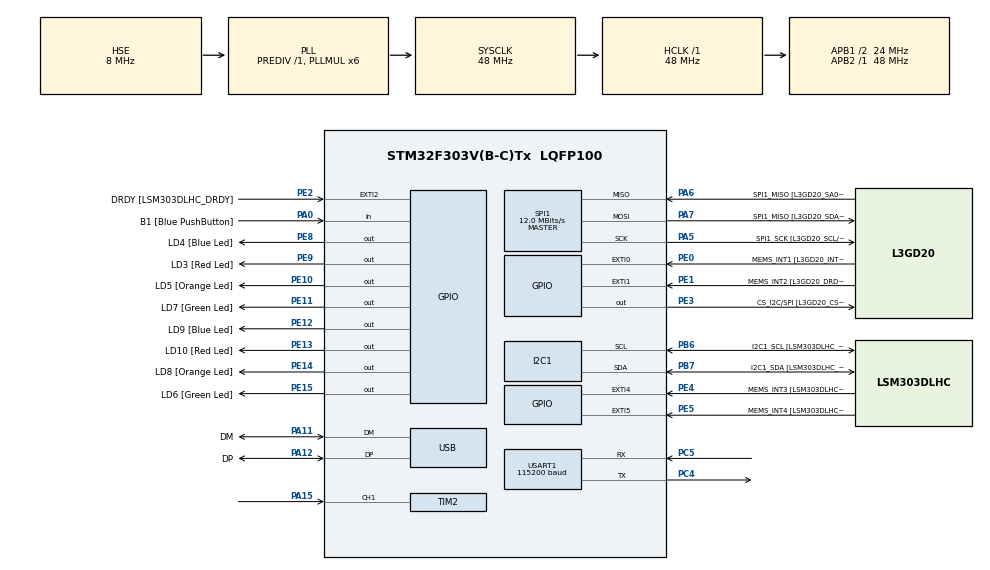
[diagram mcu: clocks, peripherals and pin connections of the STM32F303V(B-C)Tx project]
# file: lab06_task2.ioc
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I2C1.Timing=0x00201D2B
I2C1.Timing-I2C=0x2000090E
Mcu.Family=STM32F3
Mcu.Name=STM32F303V(B-C)Tx
Mcu.Package=LQFP100
NVIC.PriorityGroup=NVIC_PRIORITYGROUP_0
NVIC.TIM2_IRQn=true\:0\:0\:false\:false\:true\:true\:true\:true
PA0.GPIO_Label=B1 [Blue PushButton]
PA0.Signal=GPIO_Input
PA11.GPIO_Label=DM
PA11.Mode=Device
PA11.Signal=USB_DM
PA12.GPIO_Label=DP
PA12.Mode=Device
PA12.Signal=USB_DP
PA13.GPIO_Label=SWDIO
PA13.Mode=Serial_Wire
PA13.Signal=SYS_JTMS-SWDIO
PA14.GPIO_Label=SWCLK
PA14.Mode=Serial_Wire
PA14.Signal=SYS_JTCK-SWCLK
PA15.Signal=S_TIM2_CH1_ETR
PA5.GPIO_Label=SPI1_SCK [L3GD20_SCL/SPC]
PA5.Mode=Full_Duplex_Master
PA5.Signal=SPI1_SCK
PA6.GPIO_Label=SPI1_MISO [L3GD20_SA0/SDO]
PA6.Mode=Full_Duplex_Master
PA6.Signal=SPI1_MISO
PA7.GPIO_Label=SPI1_MISO [L3GD20_SDA/SDI/SDO]
PA7.Mode=Full_Duplex_Master
PA7.Signal=SPI1_MOSI
PB3.GPIO_Label=SWO
PB3.Signal=SYS_JTDO-TRACESWO
PB6.GPIO_Label=I2C1_SCL [LSM303DLHC_SCL]
PB6.GPIO_Pu=GPIO_PULLUP
PB6.Mode=I2C
PB6.Signal=I2C1_SCL
PB7.GPIO_Label=I2C1_SDA [LSM303DLHC_SDA]
PB7.GPIO_Pu=GPIO_PULLUP
PB7.Mode=I2C
PB7.Signal=I2C1_SDA
PC14-OSC32_IN.GPIO_Label=OSC32_IN
PC14-OSC32_IN.Signal=RCC_OSC32_IN
PC15-OSC32_OUT.GPIO_Label=OSC32_OUT
PC15-OSC32_OUT.Signal=RCC_OSC32_OUT
PC4.Mode=Asynchronous
PC4.Signal=USART1_TX
PC5.Mode=Asynchronous
PC5.Signal=USART1_RX
PE0.GPIO_Label=MEMS_INT1 [L3GD20_INT1]
PE0.GPIO_ModeDefaultEXTI=GPIO_MODE_EVT_RISING
PE0.Signal=GPXTI0
PE1.GPIO_Label=MEMS_INT2 [L3GD20_DRDY/INT2]
PE1.GPIO_ModeDefaultEXTI=GPIO_MODE_EVT_RISING
PE1.Signal=GPXTI1
PE10.GPIO_Label=LD5 [Orange Led]
PE10.Signal=GPIO_Output
PE11.GPIO_Label=LD7 [Green Led]
PE11.Signal=GPIO_Output
PE12.GPIO_Label=LD9 [Blue Led]
PE12.Signal=GPIO_Output
PE13.GPIO_Label=LD10 [Red Led]
PE13.Signal=GPIO_Output
PE14.GPIO_Label=LD8 [Orange Led]
PE14.Signal=GPIO_Output
PE15.GPIO_Label=LD6 [Green Led]
PE15.Signal=GPIO_Output
PE2.GPIO_Label=DRDY [LSM303DLHC_DRDY]
PE2.GPIO_ModeDefaultEXTI=GPIO_MODE_EVT_RISING
PE2.Signal=GPXTI2
PE3.GPIO_Label=CS_I2C/SPI [L3GD20_CS_I2C/SPI]
PE3.Signal=GPIO_Output
PE4.GPIO_Label=MEMS_INT3 [LSM303DLHC_INT1]
PE4.GPIO_ModeDefaultEXTI=GPIO_MODE_EVT_RISING
PE4.Signal=GPXTI4
PE5.GPIO_Label=MEMS_INT4 [LSM303DLHC_INT2]
PE5.GPIO_ModeDefaultEXTI=GPIO_MODE_EVT_RISING
PE5.Signal=GPXTI5
PE8.GPIO_Label=LD4 [Blue Led]
PE8.Signal=GPIO_Output
PE9.GPIO_Label=LD3 [Red Led]
PE9.Signal=GPIO_Output
PF0-OSC_IN.GPIO_Label=OSC_IN
PF0-OSC_IN.Mode=HSE-External-Clock-Source
PF0-OSC_IN.Signal=RCC_OSC_IN
PF1-OSC_OUT.GPIO_Label=OSC_OUT
PF1-OSC_OUT.Signal=RCC_OSC_OUT
ProjectManager.HeapSize=0x200
ProjectManager.StackSize=0x400
ProjectManager.TargetToolchain=CMake
RCC.AHBFreq_Value=48000000
RCC.APB1CLKDivider=RCC_HCLK_DIV2
RCC.APB1Freq_Value=24000000
RCC.APB1TimFreq_Value=48000000
RCC.APB2Freq_Value=48000000
RCC.APB2TimFreq_Value=48000000
RCC.CortexFreq_Value=48000000
RCC.HCLKFreq_Value=48000000
RCC.HSE_VALUE=8000000
RCC.HSI_VALUE=8000000
RCC.LSE_VALUE=32768
RCC.PLLMUL=RCC_PLL_MUL6
RCC.SYSCLKFreq_VALUE=48000000
RCC.SYSCLKSourceVirtual=RCC_SYSCLKSOURCE_PLLCLK
RCC.USBFreq_Value=48000000
SH.S_TIM2_CH1_ETR.0=TIM2_CH1,Input_Capture1_from_TI1
SPI1.BaudRatePrescaler=SPI_BAUDRATEPRESCALER_4
SPI1.BaudRatePrescaler-Full_Duplex_Master=SPI_BAUDRATEPRESCALER_2
SPI1.CalculateBaudRate=12.0 MBits/s
SPI1.CalculateBaudRate-Full_Duplex_Master=24.0 MBits/s
SPI1.Direction=SPI_DIRECTION_2LINES
SPI1.Mode=SPI_MODE_MASTER
SPI1.Mode-Full_Duplex_Master=SPI_MODE_MASTER
SPI1.VirtualType=VM_MASTER
TIM2.Channel-Input_Capture1_from_TI1=TIM_CHANNEL_1
TIM2.Prescaler=71
USART1.BaudRate=115200
USART1.VirtualMode-Asynchronous=VM_ASYNC
board=STM32F3DISCOVERY

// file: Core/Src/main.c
/* USER CODE BEGIN Header */
/**
  ******************************************************************************
  * @file           : main.c
  * @brief          : Main program body
  ******************************************************************************
  * @attention
  *
  * Copyright (c) 2026 STMicroelectronics.
  * All rights reserved.
  *
  * This software is licensed under terms that can be found in the LICENSE file
  * in the root directory of this software component.
  * If no LICENSE file comes with this software, it is provided AS-IS.
  *
  ******************************************************************************
  */
/* USER CODE END Header */
#include "main.h"
#include <stdio.h>

I2C_HandleTypeDef hi2c1;

SPI_HandleTypeDef hspi1;

TIM_HandleTypeDef htim2;

UART_HandleTypeDef huart1;

PCD_HandleTypeDef hpcd_USB_FS;

/* USER CODE BEGIN PV */

volatile uint32_t last_capture = 0;
volatile uint32_t current_capture = 0;
volatile uint32_t period = 0;
volatile uint32_t frequency = 0;

volatile uint8_t dataReady = 0;

/* USER CODE END PV */

void SystemClock_Config(void);
static void MX_GPIO_Init(void);
static void MX_I2C1_Init(void);
static void MX_SPI1_Init(void);
static void MX_USB_PCD_Init(void);
static void MX_TIM2_Init(void);
static void MX_USART1_UART_Init(void);

/* USER CODE BEGIN 0 */

int _write(int file, char *ptr, int len)
{
    HAL_UART_Transmit(&huart1, (uint8_t *)ptr, len, HAL_MAX_DELAY);
    return len;
}

void HAL_TIM_IC_CaptureCallback(TIM_HandleTypeDef *htim)
{
  if (htim->Instance == TIM2){

    if (htim->Channel == HAL_TIM_ACTIVE_CHANNEL_1){

      current_capture =HAL_TIM_ReadCapturedValue(htim, TIM_CHANNEL_1);
      if (last_capture != 0){

        if (current_capture >= last_capture)
        {
          period = current_capture - last_capture;
        }
        else
        {
          period = (0xFFFFFFFF - last_capture) + current_capture + 1;
        }
        dataReady = 1;
      }
      last_capture = current_capture;
    }
  }
}

/* USER CODE END 0 */

int main(void)
{

  /* MCU Configuration--------------------------------------------------------*/

  /* Reset of all peripherals, Initializes the Flash interface and the Systick. */
  HAL_Init();

  /* Configure the system clock */
  SystemClock_Config();

  /* Initialize all configured peripherals */
  MX_GPIO_Init();
  MX_I2C1_Init();
  MX_SPI1_Init();
  MX_USB_PCD_Init();
  MX_TIM2_Init();
  MX_USART1_UART_Init();
  /* USER CODE BEGIN 2 */
  HAL_TIM_IC_Start_IT(&htim2, TIM_CHANNEL_1);
  /* USER CODE END 2 */

  /* Infinite loop */
  while (1)
  {

    /* USER CODE BEGIN 3 */

    if (dataReady == 1){
      if (period != 0)
      {
        frequency = 666667 / period;

        printf("Period: %d us\r\n",(period));
        printf("Frequency: %d  Hz\r\n",frequency);
    }

    dataReady = 0;
}

  }
  /* USER CODE END 3 */
}

void SystemClock_Config(void)
{
  RCC_OscInitTypeDef RCC_OscInitStruct = {0};
  RCC_ClkInitTypeDef RCC_ClkInitStruct = {0};
  RCC_PeriphCLKInitTypeDef PeriphClkInit = {0};

  /** Initializes the RCC Oscillators according to the specified parameters
  * in the RCC_OscInitTypeDef structure.
  */
  RCC_OscInitStruct.OscillatorType = RCC_OSCILLATORTYPE_HSI|RCC_OSCILLATORTYPE_HSE;
  RCC_OscInitStruct.HSEState = RCC_HSE_BYPASS;
  RCC_OscInitStruct.HSEPredivValue = RCC_HSE_PREDIV_DIV1;
  RCC_OscInitStruct.HSIState = RCC_HSI_ON;
  RCC_OscInitStruct.HSICalibrationValue = RCC_HSICALIBRATION_DEFAULT;
  RCC_OscInitStruct.PLL.PLLState = RCC_PLL_ON;
  RCC_OscInitStruct.PLL.PLLSource = RCC_PLLSOURCE_HSE;
  RCC_OscInitStruct.PLL.PLLMUL = RCC_PLL_MUL6;
  if (HAL_RCC_OscConfig(&RCC_OscInitStruct) != HAL_OK)
  {
    Error_Handler();
  }

  /** Initializes the CPU, AHB and APB buses clocks
  */
  RCC_ClkInitStruct.ClockType = RCC_CLOCKTYPE_HCLK|RCC_CLOCKTYPE_SYSCLK
                              |RCC_CLOCKTYPE_PCLK1|RCC_CLOCKTYPE_PCLK2;
  RCC_ClkInitStruct.SYSCLKSource = RCC_SYSCLKSOURCE_PLLCLK;
  RCC_ClkInitStruct.AHBCLKDivider = RCC_SYSCLK_DIV1;
  RCC_ClkInitStruct.APB1CLKDivider = RCC_HCLK_DIV2;
  RCC_ClkInitStruct.APB2CLKDivider = RCC_HCLK_DIV1;

  if (HAL_RCC_ClockConfig(&RCC_ClkInitStruct, FLASH_LATENCY_1) != HAL_OK)
  {
    Error_Handler();
  }
  PeriphClkInit.PeriphClockSelection = RCC_PERIPHCLK_USB|RCC_PERIPHCLK_USART1
                              |RCC_PERIPHCLK_I2C1;
  PeriphClkInit.Usart1ClockSelection = RCC_USART1CLKSOURCE_PCLK2;
  PeriphClkInit.I2c1ClockSelection = RCC_I2C1CLKSOURCE_HSI;
  PeriphClkInit.USBClockSelection = RCC_USBCLKSOURCE_PLL;
  if (HAL_RCCEx_PeriphCLKConfig(&PeriphClkInit) != HAL_OK)
  {
    Error_Handler();
  }
}

static void MX_I2C1_Init(void)
{

  hi2c1.Instance = I2C1;
  hi2c1.Init.Timing = 0x00201D2B;
  hi2c1.Init.OwnAddress1 = 0;
  hi2c1.Init.AddressingMode = I2C_ADDRESSINGMODE_7BIT;
  hi2c1.Init.DualAddressMode = I2C_DUALADDRESS_DISABLE;
  hi2c1.Init.OwnAddress2 = 0;
  hi2c1.Init.OwnAddress2Masks = I2C_OA2_NOMASK;
  hi2c1.Init.GeneralCallMode = I2C_GENERALCALL_DISABLE;
  hi2c1.Init.NoStretchMode = I2C_NOSTRETCH_DISABLE;
  if (HAL_I2C_Init(&hi2c1) != HAL_OK)
  {
    Error_Handler();
  }

  /** Configure Analogue filter
  */
  if (HAL_I2CEx_ConfigAnalogFilter(&hi2c1, I2C_ANALOGFILTER_ENABLE) != HAL_OK)
  {
    Error_Handler();
  }

  /** Configure Digital filter
  */
  if (HAL_I2CEx_ConfigDigitalFilter(&hi2c1, 0) != HAL_OK)
  {
    Error_Handler();
  }

}

static void MX_SPI1_Init(void)
{

  /* SPI1 parameter configuration*/
  hspi1.Instance = SPI1;
  hspi1.Init.Mode = SPI_MODE_MASTER;
  hspi1.Init.Direction = SPI_DIRECTION_2LINES;
  hspi1.Init.DataSize = SPI_DATASIZE_4BIT;
  hspi1.Init.CLKPolarity = SPI_POLARITY_LOW;
  hspi1.Init.CLKPhase = SPI_PHASE_1EDGE;
  hspi1.Init.NSS = SPI_NSS_SOFT;
  hspi1.Init.BaudRatePrescaler = SPI_BAUDRATEPRESCALER_4;
  hspi1.Init.FirstBit = SPI_FIRSTBIT_MSB;
  hspi1.Init.TIMode = SPI_TIMODE_DISABLE;
  hspi1.Init.CRCCalculation = SPI_CRCCALCULATION_DISABLE;
  hspi1.Init.CRCPolynomial = 7;
  hspi1.Init.CRCLength = SPI_CRC_LENGTH_DATASIZE;
  hspi1.Init.NSSPMode = SPI_NSS_PULSE_ENABLE;
  if (HAL_SPI_Init(&hspi1) != HAL_OK)
  {
    Error_Handler();
  }

}

static void MX_TIM2_Init(void)
{

  TIM_MasterConfigTypeDef sMasterConfig = {0};
  TIM_IC_InitTypeDef sConfigIC = {0};

  htim2.Instance = TIM2;
  htim2.Init.Prescaler = 71;
  htim2.Init.CounterMode = TIM_COUNTERMODE_UP;
  htim2.Init.Period = 4294967295;
  htim2.Init.ClockDivision = TIM_CLOCKDIVISION_DIV1;
  htim2.Init.AutoReloadPreload = TIM_AUTORELOAD_PRELOAD_DISABLE;
  if (HAL_TIM_IC_Init(&htim2) != HAL_OK)
  {
    Error_Handler();
  }
  sMasterConfig.MasterOutputTrigger = TIM_TRGO_RESET;
  sMasterConfig.MasterSlaveMode = TIM_MASTERSLAVEMODE_DISABLE;
  if (HAL_TIMEx_MasterConfigSynchronization(&htim2, &sMasterConfig) != HAL_OK)
  {
    Error_Handler();
  }
  sConfigIC.ICPolarity = TIM_INPUTCHANNELPOLARITY_RISING;
  sConfigIC.ICSelection = TIM_ICSELECTION_DIRECTTI;
  sConfigIC.ICPrescaler = TIM_ICPSC_DIV1;
  sConfigIC.ICFilter = 0;
  if (HAL_TIM_IC_ConfigChannel(&htim2, &sConfigIC, TIM_CHANNEL_1) != HAL_OK)
  {
    Error_Handler();
  }

}

static void MX_USART1_UART_Init(void)
{

  huart1.Instance = USART1;
  huart1.Init.BaudRate = 115200;
  huart1.Init.WordLength = UART_WORDLENGTH_8B;
  huart1.Init.StopBits = UART_STOPBITS_1;
  huart1.Init.Parity = UART_PARITY_NONE;
  huart1.Init.Mode = UART_MODE_TX_RX;
  huart1.Init.HwFlowCtl = UART_HWCONTROL_NONE;
  huart1.Init.OverSampling = UART_OVERSAMPLING_16;
  huart1.Init.OneBitSampling = UART_ONE_BIT_SAMPLE_DISABLE;
  huart1.AdvancedInit.AdvFeatureInit = UART_ADVFEATURE_NO_INIT;
  if (HAL_UART_Init(&huart1) != HAL_OK)
  {
    Error_Handler();
  }

}

static void MX_USB_PCD_Init(void)
{

  hpcd_USB_FS.Instance = USB;
  hpcd_USB_FS.Init.dev_endpoints = 8;
  hpcd_USB_FS.Init.speed = PCD_SPEED_FULL;
  hpcd_USB_FS.Init.phy_itface = PCD_PHY_EMBEDDED;
  hpcd_USB_FS.Init.low_power_enable = DISABLE;
  hpcd_USB_FS.Init.battery_charging_enable = DISABLE;
  if (HAL_PCD_Init(&hpcd_USB_FS) != HAL_OK)
  {
    Error_Handler();
  }

}

static void MX_GPIO_Init(void)
{
  GPIO_InitTypeDef GPIO_InitStruct = {0};

  /* GPIO Ports Clock Enable */
  __HAL_RCC_GPIOE_CLK_ENABLE();
  __HAL_RCC_GPIOC_CLK_ENABLE();
  __HAL_RCC_GPIOF_CLK_ENABLE();
  __HAL_RCC_GPIOA_CLK_ENABLE();
  __HAL_RCC_GPIOB_CLK_ENABLE();

  /*Configure GPIO pin Output Level */
  HAL_GPIO_WritePin(GPIOE, CS_I2C_SPI_Pin|LD4_Pin|LD3_Pin|LD5_Pin
                          |LD7_Pin|LD9_Pin|LD10_Pin|LD8_Pin
                          |LD6_Pin, GPIO_PIN_RESET);

  /*Configure GPIO pins : DRDY_Pin MEMS_INT3_Pin MEMS_INT4_Pin MEMS_INT1_Pin
                           MEMS_INT2_Pin */
  GPIO_InitStruct.Pin = DRDY_Pin|MEMS_INT3_Pin|MEMS_INT4_Pin|MEMS_INT1_Pin
                          |MEMS_INT2_Pin;
  GPIO_InitStruct.Mode = GPIO_MODE_EVT_RISING;
  GPIO_InitStruct.Pull = GPIO_NOPULL;
  HAL_GPIO_Init(GPIOE, &GPIO_InitStruct);

  /*Configure GPIO pins : CS_I2C_SPI_Pin LD4_Pin LD3_Pin LD5_Pin
                           LD7_Pin LD9_Pin LD10_Pin LD8_Pin
                           LD6_Pin */
  GPIO_InitStruct.Pin = CS_I2C_SPI_Pin|LD4_Pin|LD3_Pin|LD5_Pin
                          |LD7_Pin|LD9_Pin|LD10_Pin|LD8_Pin
                          |LD6_Pin;
  GPIO_InitStruct.Mode = GPIO_MODE_OUTPUT_PP;
  GPIO_InitStruct.Pull = GPIO_NOPULL;
  GPIO_InitStruct.Speed = GPIO_SPEED_FREQ_LOW;
  HAL_GPIO_Init(GPIOE, &GPIO_InitStruct);

  /*Configure GPIO pin : B1_Pin */
  GPIO_InitStruct.Pin = B1_Pin;
  GPIO_InitStruct.Mode = GPIO_MODE_INPUT;
  GPIO_InitStruct.Pull = GPIO_NOPULL;
  HAL_GPIO_Init(B1_GPIO_Port, &GPIO_InitStruct);

}

void Error_Handler(void)
{
  __disable_irq();
  while (1)
  {
  }
}
